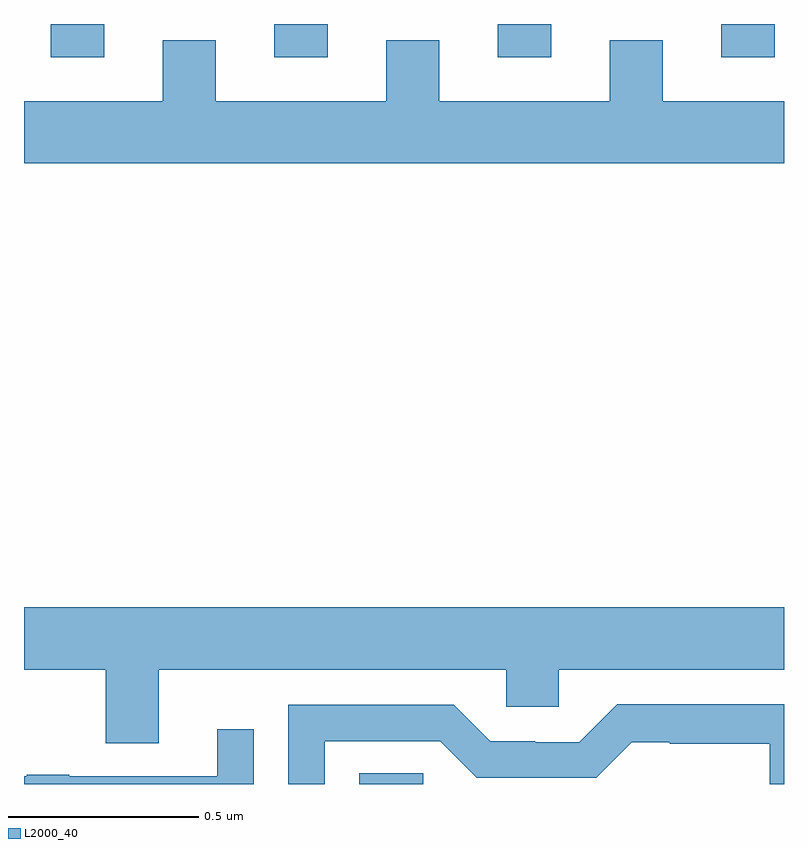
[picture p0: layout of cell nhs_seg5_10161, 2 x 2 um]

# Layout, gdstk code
import gdstk
lib = gdstk.Library(unit=1e-6, precision=1e-09)
def R(c, l, rs):  # rectangles x0, y0, x1, y1
    for r in rs: c.add(gdstk.rectangle(r[:2], r[2:], *l))
def A(c, l, x, y, w, h, nx, ny, dx, dy):  # array of equal rectangles
    R(c, l, [(x+i*dx, y+j*dy, x+i*dx+w, y+j*dy+h) for i in range(nx) for j in range(ny)])
def P(c, l, *ps):  # polygons
    for p in ps: c.add(gdstk.Polygon(p, *l))
L2000_40 = (2000, 40)

nhs_seg5_10161 = lib.new_cell('nhs_seg5_10161')
A(nhs_seg5_10161, L2000_40, 243.071, 851.712, 0.14, 0.087, 4, 1, 0.588, 0)
R(nhs_seg5_10161, L2000_40, [(243.882,849.799,244.051,849.827)])
P(nhs_seg5_10161, L2000_40, [(245,851.596),(244.681,851.596),(244.681,851.756),(244.541,851.756),(244.541,851.596),(244.093,851.596),(244.093,851.756),(243.953,851.756),(243.953,851.596),(243.505,851.596),(243.505,851.756),(243.365,851.756),(243.365,851.596),(243,851.596),(243,851.432),(245,851.432)],
  [(243.355,850.1),(244.269,850.1),(244.269,850.002),(244.407,850.002),(244.407,850.1),(245,850.1),(245,850.264),(243,850.264),(243,850.1),(243.215,850.1),(243.215,849.906),(243.355,849.906)],
  [(243.792,849.912),(244.095,849.912),(244.191,849.816),(244.506,849.816),(244.599,849.909),(244.699,849.909),(244.699,849.905),(244.962,849.905),(244.962,849.799),(245,849.799),(245,850.009),(244.561,850.009),(244.461,849.909),(244.346,849.909),(244.346,849.912),(244.227,849.912),(244.131,850.008),(243.696,850.008),(243.696,849.799),(243.792,849.799)],
  [(243.605,849.943),(243.509,849.943),(243.509,849.819),(243.119,849.819),(243.119,849.824),(243.007,849.824),(243.007,849.819),(243,849.819),(243,849.799),(243.605,849.799)])

lib.write_gds('nhs_seg5_10161.gds')
